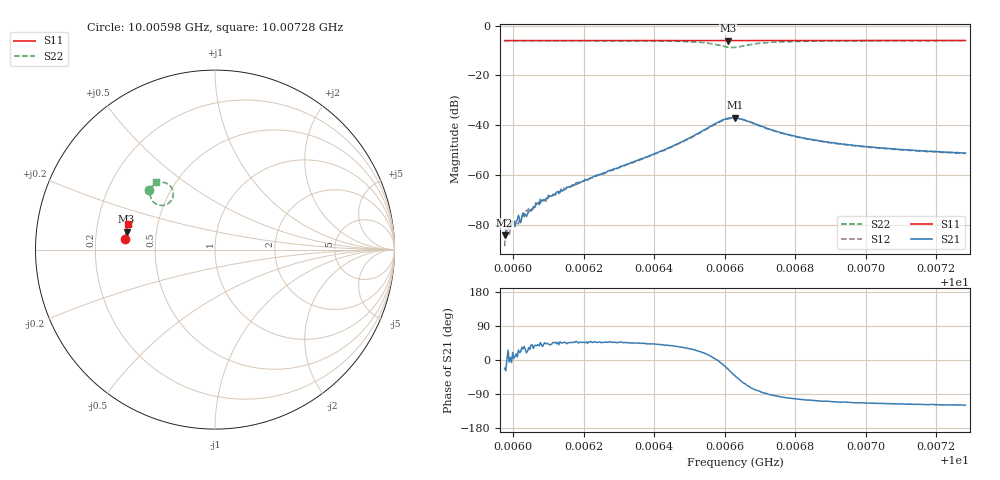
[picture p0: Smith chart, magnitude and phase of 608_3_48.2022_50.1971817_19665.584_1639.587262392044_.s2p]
#  HZ  S  RI  R  50.00
! Rohde & Schwarz Vector Network Analyzer
! Rohde-Schwarz,ZNB20-2Port,1311601062101988,3.16
! Created: UTC 3/20/2024, 12:03:18 PM
! freq[Hz]  re:S11  im:S11  re:S21  im:S21  re:S12  im:S12  re:S22  im:S22
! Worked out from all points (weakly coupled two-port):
!   401 points, 10.00598 GHz to 10.00728 GHz, reference 50 ohm
!   highest |S21| = -37.01 dB at 10.00663 GHz (marker M1); lowest = -84.2 dB at 10.00598 GHz (marker M2)
!   lowest |S11| = -6.0 dB at 10.00661 GHz (marker M3), VSWR 3.02, Z = 16.7 + j4.46 ohm
!   |S11| at or under -10 dB: nowhere
!   |S22| runs from -8.8 to -6.0 dB; largest |S21 - S12| = 0.001
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1.0005976e10  -0.4995 0.059  5.72e-05 -2.31e-05  3.56e-05 -1.04e-05  -0.3692 0.3346
1.0005985e10  -0.4993 0.0597  7.13e-05 3.49e-05  6.61e-05 5.37e-07  -0.3687 0.3351
1.0005995e10  -0.4995 0.0603  0.000113 -1.36e-05  0.000108 -4.35e-06  -0.3683 0.3359
1.0006012e10  -0.4993 0.0613  0.000122 1.69e-05  0.00011 3.17e-05  -0.3673 0.337
1.0006041e10  -0.4991 0.0633  0.000153 6.89e-05  0.000137 0.000129  -0.3655 0.3389
1.0006054e10  -0.4991 0.0642  0.000162 0.000134  0.000156 0.000128  -0.3647 0.3396
1.000607e10  -0.4989 0.0652  0.000208 0.000179  0.000201 0.000181  -0.3637 0.3409
1.0006119e10  -0.4985 0.0685  0.000287 0.000305  0.000265 0.000291  -0.3605 0.3443
1.0006149e10  -0.4982 0.0704  0.000379 0.000384  0.000334 0.000401  -0.3583 0.3464
1.0006195e10  -0.4979 0.0734  0.00051 0.000529  0.000458 0.000534  -0.355 0.3498
1.0006414e10  -0.4959 0.0876  0.00221 0.0019  0.00208 0.00197  -0.3267 0.3692
1.0006476e10  -0.4953 0.0917  0.00376 0.00256  0.00355 0.00268  -0.3076 0.3747
1.0006544e10  -0.4941 0.0961  0.00783 0.00245  0.00752 0.00275  -0.2664 0.3675
1.0006593e10  -0.4931 0.0989  0.0125 -0.00233  0.0122 -0.0017  -0.2324 0.315
1.000661e10  -0.4926 0.0997  0.0125 -0.00559  0.0125 -0.00481  -0.2375 0.2846
1.0006629e10  -0.4926 0.1005  0.0105 -0.00938  0.0109 -0.00847  -0.2633 0.255
1.0006701e10  -0.4927 0.1049  0.00111 -0.00975  0.00166 -0.00956  -0.3511 0.2757
1.0006773e10  -0.4923 0.1096  -0.00111 -0.00659  -0.000765 -0.00656  -0.3612 0.3128
1.0006848e10  -0.4913 0.1145  -0.00145 -0.00493  -0.00119 -0.00494  -0.3577 0.333
1.000694e10  -0.4901 0.1205  -0.0015 -0.00386  -0.0013 -0.0039  -0.3514 0.3474
1.0007067e10  -0.4884 0.1286  -0.00145 -0.00308  -0.00125 -0.00307  -0.343 0.3604
1.0007283e10  -0.485 0.1422  -0.00135 -0.00242  -0.00122 -0.00243  -0.3302 0.3757
